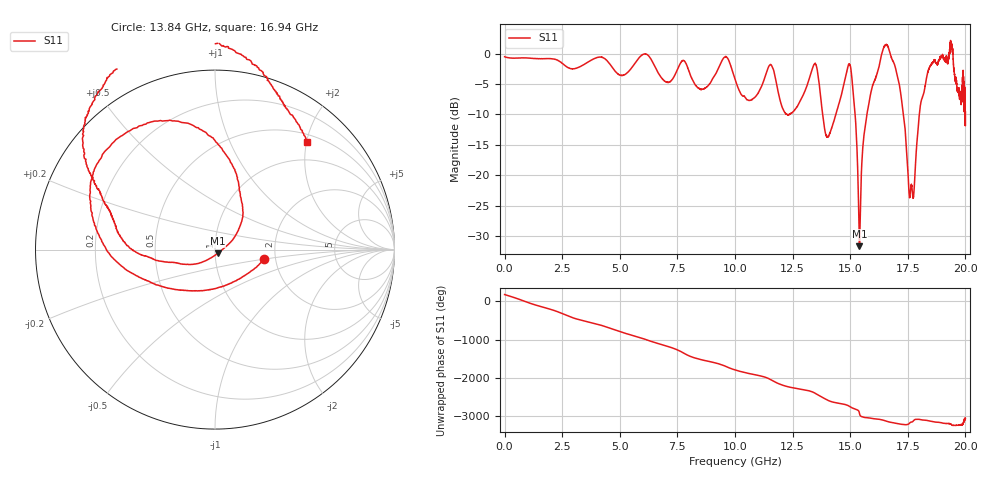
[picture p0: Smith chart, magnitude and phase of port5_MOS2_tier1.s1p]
! Created with skrf 1.8.0 (http://scikit-rf.org).
# GHz S RI R 50.0
!freq ReS11 ImS11
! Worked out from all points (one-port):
!   10001 points, 1 MHz to 20 GHz, reference 50 ohm
!   lowest |S11| = -31.7 dB at 15.4 GHz (marker M1), VSWR 1.05, Z = 51.5 - j2.2 ohm
!   |S11| at or under -10 dB: 13.8 GHz to 14.38 GHz (574.6 MHz wide, 4.08 % of centre); 15.21 GHz to 15.73 GHz (515.3 MHz wide, 3.33 % of centre); 17.31 GHz to 18 GHz (687.7 MHz wide, 3.9 % of centre) (the widest 3 of 8)
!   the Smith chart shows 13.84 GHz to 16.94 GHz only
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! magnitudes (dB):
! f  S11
! 1 MHz  -0.5
! 2.501 GHz  -1.6
! 5.001 GHz  -3.5
! 6.073 GHz  -0.1
! 7.005 GHz  -4.7
! 7.501 GHz  -2.6
! 8.609 GHz  -5.9
! 9.599 GHz  -0.5
! 10 GHz  -4.2
! 10.68 GHz  -7.7
! 11.56 GHz  -1.8
! 12.1 GHz  -9.2
! 12.5 GHz  -9.6
! 13.47 GHz  -1.6
! 14.05 GHz  -13.6
! 15 GHz  -1.9
! 15.19 GHz  -9.1
! 15.4 GHz  -31.7
! 15.6 GHz  -13.4
! 15.79 GHz  -8.6
! 16.53 GHz  1.4
! 17.13 GHz  -5.1
! 17.5 GHz  -19.0
! 17.72 GHz  -23.5
! 18.06 GHz  -8.1
! 18.58 GHz  -1.5
! 19.38 GHz  1.6
! 20 GHz  -9.6
